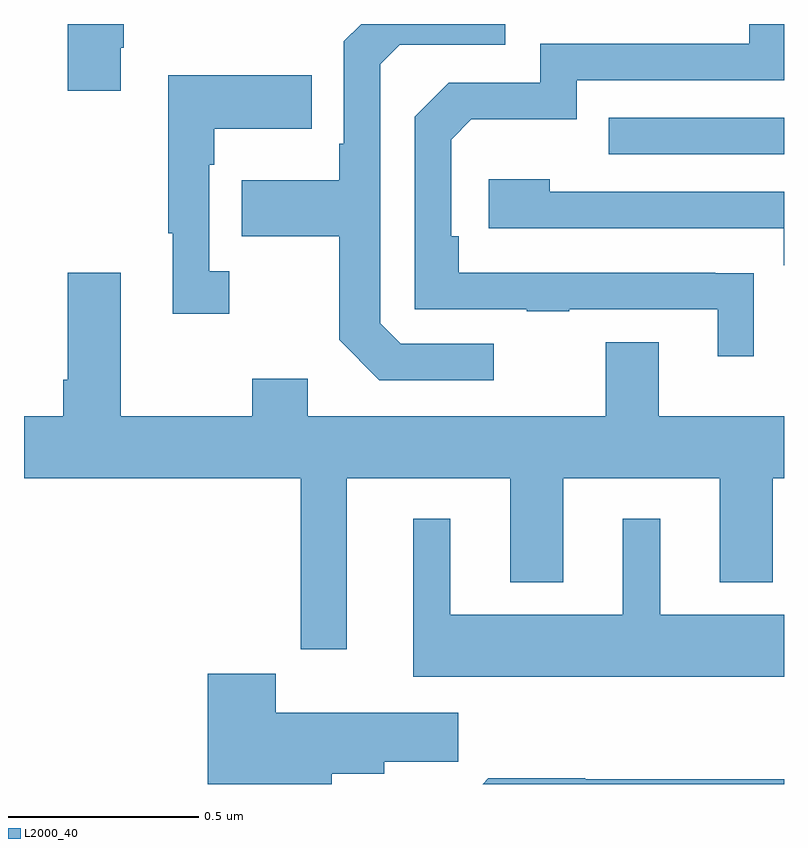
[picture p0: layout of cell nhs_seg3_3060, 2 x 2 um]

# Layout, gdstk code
import gdstk
lib = gdstk.Library(unit=1e-6, precision=1e-09)
def R(c, l, rs):  # rectangles x0, y0, x1, y1
    for r in rs: c.add(gdstk.rectangle(r[:2], r[2:], *l))
def P(c, l, *ps):  # polygons
    for p in ps: c.add(gdstk.Polygon(p, *l))
L2000_40 = (2000, 40)

nhs_seg3_3060 = lib.new_cell('nhs_seg3_3060')
R(nhs_seg3_3060, L2000_40, [(149.539,747.057,150,747.153)])
P(nhs_seg3_3060, L2000_40, [(148.255,747.337),(148.263,747.337),(148.263,747.4),(148.115,747.4),(148.115,747.225),(148.255,747.225)],
  [(149.236,746.559),(148.992,746.559),(148.938,746.613),(148.938,747.294),(148.989,747.345),(149.266,747.345),(149.266,747.4),(148.888,747.4),(148.842,747.354),(148.842,747.085),(148.83,747.085),(148.83,746.989),(148.573,746.989),(148.573,746.842),(148.83,746.842),(148.83,746.569),(148.935,746.463),(149.236,746.463)],
  [(149.921,746.744),(149.819,746.744),(149.819,746.745),(149.144,746.745),(149.144,746.842),(149.124,746.842),(149.124,747.096),(149.177,747.149),(149.454,747.149),(149.454,747.252),(150,747.252),(150,747.4),(149.909,747.4),(149.909,747.348),(149.358,747.348),(149.358,747.246),(149.118,747.246),(149.028,747.156),(149.028,746.649),(149.323,746.649),(149.323,746.644),(149.435,746.644),(149.435,746.649),(149.825,746.649),(149.825,746.526),(149.921,746.526)],
  [(148.54,746.75),(148.488,746.75),(148.488,747.029),(148.501,747.029),(148.501,747.125),(148.757,747.125),(148.757,747.265),(148.38,747.265),(148.38,746.849),(148.391,746.849),(148.391,746.637),(148.54,746.637)],
  [(150,746.958),(149.384,746.958),(149.384,746.992),(149.223,746.992),(149.223,746.862),(149.999,746.862),(149.999,746.765),(150,746.765)],
  [(149.671,746.563),(149.531,746.563),(149.531,746.368),(148.747,746.368),(148.747,746.467),(148.6,746.467),(148.6,746.368),(148.255,746.368),(148.255,746.746),(148.115,746.746),(148.115,746.464),(148.103,746.464),(148.103,746.368),(148,746.368),(148,746.204),(148.728,746.204),(148.728,745.755),(148.849,745.755),(148.849,746.204),(149.279,746.204),(149.279,745.931),(149.419,745.931),(149.419,746.204),(149.831,746.204),(149.831,745.931),(149.971,745.931),(149.971,746.204),(150,746.204),(150,746.368),(149.671,746.368)],
  [(150,745.846),(149.674,745.846),(149.674,746.098),(149.576,746.098),(149.576,745.846),(149.122,745.846),(149.122,746.098),(149.024,746.098),(149.024,745.682),(150,745.682)],
  [(148.81,745.427),(148.948,745.427),(148.948,745.459),(149.143,745.459),(149.143,745.588),(148.662,745.588),(148.662,745.69),(148.484,745.69),(148.484,745.4),(148.81,745.4)],
  [(150,745.412),(149.477,745.412),(149.477,745.415),(149.222,745.415),(149.207,745.4),(150,745.4)])

lib.write_gds('nhs_seg3_3060.gds')
